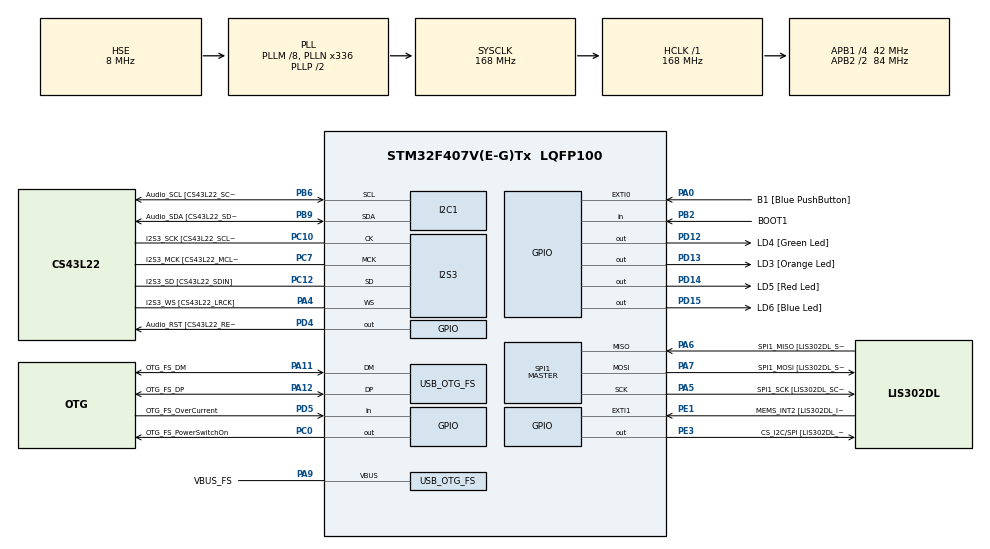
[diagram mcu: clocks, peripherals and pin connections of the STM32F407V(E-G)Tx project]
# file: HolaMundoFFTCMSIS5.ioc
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I2S3.AudioFreq-Half_Duplex_Master=I2S_AUDIOFREQ_96K
I2S3.ErrorAudioFreq=-2.34 %
I2S3.ErrorAudioFreq-Half_Duplex_Master=0.8 %
I2S3.FullDuplexMode=I2S_FULLDUPLEXMODE_DISABLE
I2S3.Instance=SPI$Index
I2S3.RealAudioFreq=93.75 KHz
I2S3.RealAudioFreq-Half_Duplex_Master=96.774 KHz
I2S3.VirtualMode=I2S_MODE_MASTER
Mcu.Family=STM32F4
Mcu.Name=STM32F407V(E-G)Tx
Mcu.Package=LQFP100
NVIC.OTG_FS_IRQn=true\:0\:0\:false\:false\:true\:true\:true\:true
NVIC.PriorityGroup=NVIC_PRIORITYGROUP_0
PA0-WKUP.GPIO_Label=B1 [Blue PushButton]
PA0-WKUP.GPIO_ModeDefaultEXTI=GPIO_MODE_EVT_RISING
PA0-WKUP.GPIO_PuPd=GPIO_NOPULL
PA0-WKUP.Signal=GPXTI0
PA10.GPIO_Label=OTG_FS_ID
PA10.GPIO_Mode=GPIO_MODE_AF_PP
PA10.GPIO_PuPd=GPIO_NOPULL
PA10.GPIO_Speed=GPIO_SPEED_FREQ_LOW
PA10.Signal=USB_OTG_FS_ID
PA11.GPIO_Label=OTG_FS_DM
PA11.GPIO_Mode=GPIO_MODE_AF_PP
PA11.GPIO_PuPd=GPIO_NOPULL
PA11.GPIO_Speed=GPIO_SPEED_FREQ_LOW
PA11.Mode=Host_Only
PA11.Signal=USB_OTG_FS_DM
PA12.GPIO_Label=OTG_FS_DP
PA12.GPIO_Mode=GPIO_MODE_AF_PP
PA12.GPIO_PuPd=GPIO_NOPULL
PA12.GPIO_Speed=GPIO_SPEED_FREQ_LOW
PA12.Mode=Host_Only
PA12.Signal=USB_OTG_FS_DP
PA13.GPIO_Label=SWDIO
PA13.Mode=Serial_Wire
PA13.Signal=SYS_JTMS-SWDIO
PA14.GPIO_Label=SWCLK
PA14.Mode=Serial_Wire
PA14.Signal=SYS_JTCK-SWCLK
PA4.GPIO_Label=I2S3_WS [CS43L22_LRCK]
PA4.GPIO_Mode=GPIO_MODE_AF_PP
PA4.GPIO_PuPd=GPIO_NOPULL
PA4.GPIO_Speed=GPIO_SPEED_FREQ_LOW
PA4.Mode=Half_Duplex_Master
PA4.Signal=I2S3_WS
PA5.GPIO_Label=SPI1_SCK [LIS302DL_SCL/SPC]
PA5.GPIO_Mode=GPIO_MODE_AF_PP
PA5.GPIO_PuPd=GPIO_NOPULL
PA5.GPIO_Speed=GPIO_SPEED_FREQ_LOW
PA5.Mode=Full_Duplex_Master
PA5.Signal=SPI1_SCK
PA6.GPIO_Label=SPI1_MISO [LIS302DL_SDO]
PA6.GPIO_Mode=GPIO_MODE_AF_PP
PA6.GPIO_PuPd=GPIO_NOPULL
PA6.GPIO_Speed=GPIO_SPEED_FREQ_LOW
PA6.Mode=Full_Duplex_Master
PA6.Signal=SPI1_MISO
PA7.GPIO_Label=SPI1_MOSI [LIS302DL_SDA/SDI/SDO]
PA7.GPIO_Mode=GPIO_MODE_AF_PP
PA7.GPIO_PuPd=GPIO_NOPULL
PA7.GPIO_Speed=GPIO_SPEED_FREQ_LOW
PA7.Mode=Full_Duplex_Master
PA7.Signal=SPI1_MOSI
PA9.GPIO_Label=VBUS_FS
PA9.GPIO_Mode=GPIO_MODE_INPUT
PA9.GPIO_PuPd=GPIO_NOPULL
PA9.Mode=Activate_VBUS
PA9.Signal=USB_OTG_FS_VBUS
PB10.GPIO_Label=CLK_IN [MP45DT02_CLK]
PB10.GPIO_Mode=GPIO_MODE_AF_PP
PB10.GPIO_PuPd=GPIO_NOPULL
PB10.GPIO_Speed=GPIO_SPEED_FREQ_LOW
PB10.Signal=I2S2_CK
PB2.GPIO_Label=BOOT1
PB2.GPIO_Mode=GPIO_MODE_INPUT
PB2.GPIO_PuPd=GPIO_NOPULL
PB2.Signal=GPIO_Input
PB3.GPIO_Label=SWO
PB3.Signal=SYS_JTDO-SWO
PB6.GPIO_Label=Audio_SCL [CS43L22_SCL]
PB6.GPIO_Mode=GPIO_MODE_AF_OD
PB6.GPIO_Pu=GPIO_PULLUP
PB6.GPIO_PuPd=GPIO_NOPULL
PB6.GPIO_Speed=GPIO_SPEED_FREQ_LOW
PB6.Mode=I2C
PB6.Signal=I2C1_SCL
PB9.GPIO_Label=Audio_SDA [CS43L22_SDA]
PB9.GPIO_Mode=GPIO_MODE_AF_OD
PB9.GPIO_Pu=GPIO_PULLUP
PB9.GPIO_PuPd=GPIO_NOPULL
PB9.GPIO_Speed=GPIO_SPEED_FREQ_LOW
PB9.Mode=I2C
PB9.Signal=I2C1_SDA
PC0.GPIO_Label=OTG_FS_PowerSwitchOn
PC0.GPIO_PuPd=GPIO_NOPULL
PC0.GPIO_Speed=GPIO_SPEED_FREQ_LOW
PC0.PinState=GPIO_PIN_SET
PC0.Signal=GPIO_Output
PC10.GPIO_Label=I2S3_SCK [CS43L22_SCLK]
PC10.GPIO_Mode=GPIO_MODE_AF_PP
PC10.GPIO_PuPd=GPIO_NOPULL
PC10.GPIO_Speed=GPIO_SPEED_FREQ_LOW
PC10.Mode=Half_Duplex_Master
PC10.Signal=I2S3_CK
PC12.GPIO_Label=I2S3_SD [CS43L22_SDIN]
PC12.GPIO_Mode=GPIO_MODE_AF_PP
PC12.GPIO_PuPd=GPIO_NOPULL
PC12.GPIO_Speed=GPIO_SPEED_FREQ_LOW
PC12.Mode=Half_Duplex_Master
PC12.Signal=I2S3_SD
PC14-OSC32_IN.GPIO_Label=PC14-OSC32_IN
PC14-OSC32_IN.Mode=LSE-External-Oscillator
PC14-OSC32_IN.Signal=RCC_OSC32_IN
PC15-OSC32_OUT.GPIO_Label=PC15-OSC32_OUT
PC15-OSC32_OUT.Mode=LSE-External-Oscillator
PC15-OSC32_OUT.Signal=RCC_OSC32_OUT
PC3.GPIO_Label=PDM_OUT [MP45DT02_DOUT]
PC3.GPIO_Mode=GPIO_MODE_AF_PP
PC3.GPIO_PuPd=GPIO_NOPULL
PC3.GPIO_Speed=GPIO_SPEED_FREQ_LOW
PC3.Signal=I2S2_SD
PC7.GPIO_Label=I2S3_MCK [CS43L22_MCLK]
PC7.GPIO_Mode=GPIO_MODE_AF_PP
PC7.GPIO_PuPd=GPIO_NOPULL
PC7.GPIO_Speed=GPIO_SPEED_FREQ_LOW
PC7.Mode=Master_Clock_Activated
PC7.Signal=I2S3_MCK
PD12.GPIO_Label=LD4 [Green Led]
PD12.GPIO_PuPd=GPIO_NOPULL
PD12.GPIO_Speed=GPIO_SPEED_FREQ_LOW
PD12.Signal=GPIO_Output
PD13.GPIO_Label=LD3 [Orange Led]
PD13.GPIO_PuPd=GPIO_NOPULL
PD13.GPIO_Speed=GPIO_SPEED_FREQ_LOW
PD13.Signal=GPIO_Output
PD14.GPIO_Label=LD5 [Red Led]
PD14.GPIO_PuPd=GPIO_NOPULL
PD14.GPIO_Speed=GPIO_SPEED_FREQ_LOW
PD14.Signal=GPIO_Output
PD15.GPIO_Label=LD6 [Blue Led]
PD15.GPIO_PuPd=GPIO_NOPULL
PD15.GPIO_Speed=GPIO_SPEED_FREQ_LOW
PD15.Signal=GPIO_Output
PD4.GPIO_Label=Audio_RST [CS43L22_RESET]
PD4.GPIO_PuPd=GPIO_NOPULL
PD4.GPIO_Speed=GPIO_SPEED_FREQ_LOW
PD4.Signal=GPIO_Output
PD5.GPIO_Label=OTG_FS_OverCurrent
PD5.GPIO_Mode=GPIO_MODE_INPUT
PD5.GPIO_PuPd=GPIO_NOPULL
PD5.Signal=GPIO_Input
PE1.GPIO_Label=MEMS_INT2 [LIS302DL_INT2]
PE1.GPIO_ModeDefaultEXTI=GPIO_MODE_EVT_RISING
PE1.GPIO_PuPd=GPIO_NOPULL
PE1.Signal=GPXTI1
PE3.GPIO_Label=CS_I2C/SPI [LIS302DL_CS_I2C/SPI]
PE3.GPIO_PuPd=GPIO_NOPULL
PE3.GPIO_Speed=GPIO_SPEED_FREQ_LOW
PE3.Signal=GPIO_Output
PH0-OSC_IN.GPIO_Label=PH0-OSC_IN
PH0-OSC_IN.Mode=HSE-External-Oscillator
PH0-OSC_IN.Signal=RCC_OSC_IN
PH1-OSC_OUT.GPIO_Label=PH1-OSC_OUT
PH1-OSC_OUT.Mode=HSE-External-Oscillator
PH1-OSC_OUT.Signal=RCC_OSC_OUT
ProjectManager.HeapSize=0x200
ProjectManager.StackSize=0x400
ProjectManager.TargetToolchain=STM32CubeIDE
RCC.48MHZClocksFreq_Value=48000000
RCC.AHBFreq_Value=168000000
RCC.APB1CLKDivider=RCC_HCLK_DIV4
RCC.APB1Freq_Value=42000000
RCC.APB1TimFreq_Value=84000000
RCC.APB2CLKDivider=RCC_HCLK_DIV2
RCC.APB2Freq_Value=84000000
RCC.APB2TimFreq_Value=168000000
RCC.CortexFreq_Value=168000000
RCC.HCLKFreq_Value=168000000
RCC.HSE_VALUE=8000000
RCC.HSI_VALUE=16000000
RCC.PLLM=8
RCC.PLLN=336
RCC.PLLQ=7
RCC.SYSCLKFreq_VALUE=168000000
RCC.SYSCLKSource=RCC_SYSCLKSOURCE_PLLCLK
RCC.VCOOutputFreq_Value=336000000
SPI1.BaudRatePrescaler-Full_Duplex_Master=SPI_BAUDRATEPRESCALER_2
SPI1.CalculateBaudRate-Full_Duplex_Master=42.0 MBits/s
SPI1.Direction=SPI_DIRECTION_2LINES
SPI1.Mode=SPI_MODE_MASTER
SPI1.Mode-Full_Duplex_Master=SPI_MODE_MASTER
SPI1.VirtualType=VM_MASTER
USB_HOST.BSP.number=1
USB_HOST.USBH_HandleTypeDef-CDC_FS=hUsbHostFS
USB_HOST.VirtualModeFS=Cdc
USB_HOST0.BSP.STBoard=false
USB_HOST0.BSP.api=Unknown
USB_HOST0.BSP.instance=PC0
USB_HOST0.BSP.ip=GPIO
USB_HOST0.BSP.mode=Output
USB_HOST0.BSP.name=Drive_VBUS_FS
USB_HOST0.BSP.solution=PC0
USB_OTG_FS.VirtualMode=Host_Only
USB_OTG_FS.phy_itface=HCD_PHY_EMBEDDED
VP_USB_HOST_VS_USB_HOST_CDC_FS.Mode=CDC_FS
board=STM32F407G-DISC1

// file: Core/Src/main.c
/* USER CODE BEGIN Header */
/**
  ******************************************************************************
  * @file           : main.c
  * @brief          : Main program body
  ******************************************************************************
  * @attention
  *
  * Copyright (c) 2025 STMicroelectronics.
  * All rights reserved.
  *
  * This software is licensed under terms that can be found in the LICENSE file
  * in the root directory of this software component.
  * If no LICENSE file comes with this software, it is provided AS-IS.
  *
  ******************************************************************************
  */
/* USER CODE END Header */
#include "main.h"
#include "i2c.h"
#include "i2s.h"
#include "spi.h"
#include "usb_host.h"
#include "gpio.h"

/* USER CODE BEGIN Includes */
#include "arm_math.h"
/* USER CODE END Includes */

/* USER CODE BEGIN PM */
#define FFT_Length 32
/* USER CODE END PM */

/* USER CODE BEGIN PV */
arm_rfft_fast_instance_f32 fft_handler;
float32_t fft_input[FFT_Length] = {0};
float32_t fft_keeper[FFT_Length] = {0};
float32_t fft_output[FFT_Length] = {0};
int flag = 0;
/* USER CODE END PV */

void SystemClock_Config(void);
void MX_USB_HOST_Process(void);

int main(void)
{

  /* MCU Configuration--------------------------------------------------------*/

  /* Reset of all peripherals, Initializes the Flash interface and the Systick. */
  HAL_Init();

  /* Configure the system clock */
  SystemClock_Config();

  /* Initialize all configured peripherals */
  MX_GPIO_Init();
  MX_I2C1_Init();
  MX_I2S3_Init();
  MX_SPI1_Init();
  MX_USB_HOST_Init();
  /* USER CODE BEGIN 2 */
  if(!flag){
	  for(int i = 0; i < FFT_Length; i++){
		  fft_input[i] = 1;
		  fft_keeper[i] = 1;
	  }
	  fft_input[5] = 1;
	  fft_keeper[5] = 1;
  }
  else{
	  for (int i = 0; i < FFT_Length; i++) {
		  fft_input[i] = 10.0f * arm_sin_f32(2 * PI * 10 * i / FFT_Length);
		  fft_keeper[i] = fft_input[i];
	  }
  }
  arm_rfft_fast_init_f32(&fft_handler,FFT_Length);
  /* USER CODE END 2 */

  /* Infinite loop */
  /* USER CODE BEGIN WHILE */
  while (1)
  {
	  arm_rfft_fast_f32(&fft_handler, (float32_t *)&fft_input, (float32_t *)&fft_output,0);
	  for(int i = 0; i < FFT_Length; i++){
		  fft_input[i] = fft_keeper[i];

	  }
	  HAL_Delay(500);
    /* USER CODE END WHILE */
    MX_USB_HOST_Process();

  }
}

void SystemClock_Config(void)
{
  RCC_OscInitTypeDef RCC_OscInitStruct = {0};
  RCC_ClkInitTypeDef RCC_ClkInitStruct = {0};

  /** Configure the main internal regulator output voltage
  */
  __HAL_RCC_PWR_CLK_ENABLE();
  __HAL_PWR_VOLTAGESCALING_CONFIG(PWR_REGULATOR_VOLTAGE_SCALE1);

  /** Initializes the RCC Oscillators according to the specified parameters
  * in the RCC_OscInitTypeDef structure.
  */
  RCC_OscInitStruct.OscillatorType = RCC_OSCILLATORTYPE_HSE;
  RCC_OscInitStruct.HSEState = RCC_HSE_ON;
  RCC_OscInitStruct.PLL.PLLState = RCC_PLL_ON;
  RCC_OscInitStruct.PLL.PLLSource = RCC_PLLSOURCE_HSE;
  RCC_OscInitStruct.PLL.PLLM = 8;
  RCC_OscInitStruct.PLL.PLLN = 336;
  RCC_OscInitStruct.PLL.PLLP = RCC_PLLP_DIV2;
  RCC_OscInitStruct.PLL.PLLQ = 7;
  if (HAL_RCC_OscConfig(&RCC_OscInitStruct) != HAL_OK)
  {
    Error_Handler();
  }

  /** Initializes the CPU, AHB and APB buses clocks
  */
  RCC_ClkInitStruct.ClockType = RCC_CLOCKTYPE_HCLK|RCC_CLOCKTYPE_SYSCLK
                              |RCC_CLOCKTYPE_PCLK1|RCC_CLOCKTYPE_PCLK2;
  RCC_ClkInitStruct.SYSCLKSource = RCC_SYSCLKSOURCE_PLLCLK;
  RCC_ClkInitStruct.AHBCLKDivider = RCC_SYSCLK_DIV1;
  RCC_ClkInitStruct.APB1CLKDivider = RCC_HCLK_DIV4;
  RCC_ClkInitStruct.APB2CLKDivider = RCC_HCLK_DIV2;

  if (HAL_RCC_ClockConfig(&RCC_ClkInitStruct, FLASH_LATENCY_5) != HAL_OK)
  {
    Error_Handler();
  }
}

void Error_Handler(void)
{
  __disable_irq();
  while (1)
  {
  }
}
